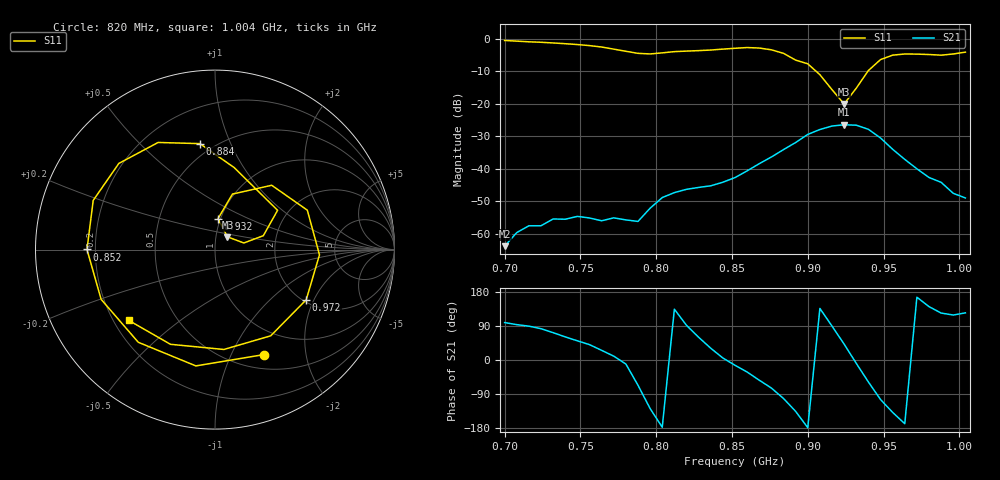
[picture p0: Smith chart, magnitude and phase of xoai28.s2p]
# Hz S RI R 50
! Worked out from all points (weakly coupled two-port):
!   39 points, 700 MHz to 1.004 GHz, reference 50 ohm
!   highest |S21| = -26.46 dB at 924 MHz (marker M1); lowest = -63.8 dB at 700 MHz (marker M2)
!   lowest |S11| = -20.1 dB at 924 MHz (marker M3), VSWR 1.22, Z = 56.8 + j8.16 ohm
!   |S11| at or under -10 dB: 905.5 MHz to 939.7 MHz (34.2 MHz wide, 3.71 % of centre)
!   S12 and S22 are empty: the file has one direction only
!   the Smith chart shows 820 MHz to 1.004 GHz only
!   S11 on the Smith chart (normalised r, x): 820 MHz: 0.67, -1.34; 852 MHz: 0.17, +0.00; 884 MHz: 0.42, +0.77; 932 MHz: 0.97, +0.35; 972 MHz: 2.07, -1.75; 1.004 GHz: 0.26, -0.34
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7e8  0.7609 0.5535  -9.85e-05 0.000639  0 0  0 0
7.24e8  0.8477 -0.2443  0.000171 0.00132  0 0  0 0
7.4e8  0.457 -0.7032  0.000814 0.00147  0 0  0 0
7.56e8  -0.1928 -0.7599  0.00133 0.00114  0 0  0 0
7.72e8  -0.6641 -0.1946  0.00174 0.000312  0 0  0 0
7.8e8  -0.5979 0.2318  0.00161 -0.000302  0 0  0 0
7.88e8  -0.2424 0.5447  0.000615 -0.00143  0 0  0 0
7.96e8  0.25 0.5274  -0.00153 -0.00195  0 0  0 0
8.04e8  0.5819 0.1713  -0.00361 -0.000162  0 0  0 0
8.2e8  0.2731 -0.5849  -0.000124 0.00484  0 0  0 0
8.36e8  -0.4273 -0.5164  0.0047 0.00283  0 0  0 0
8.52e8  -0.7133 0.000841  0.00712 -0.00176  0 0  0 0
8.68e8  -0.5355 0.4804  0.00717 -0.00962  0 0  0 0
8.84e8  -0.084 0.5904  -0.00396 -0.0193  0 0  0 0
9e8  0.3488 0.219  -0.0338 -0.000789  0 0  0 0
9.08e8  0.2691 0.0774  -0.029 0.0279  0 0  0 0
9.24e8  0.0693 0.0711  0.0354 0.0317  0 0  0 0
9.32e8  0.0168 0.1728  0.0463 -0.00717  0 0  0 0
9.56e8  0.5142 0.2198  -0.0149 -0.0133  0 0  0 0
9.72e8  0.5082 -0.2795  -0.00969 0.00248  0 0  0 0
9.88e8  0.0496 -0.5564  -0.00345 0.00515  0 0  0 0
1.004e9  -0.4816 -0.3937  -0.00201 0.00294  0 0  0 0
